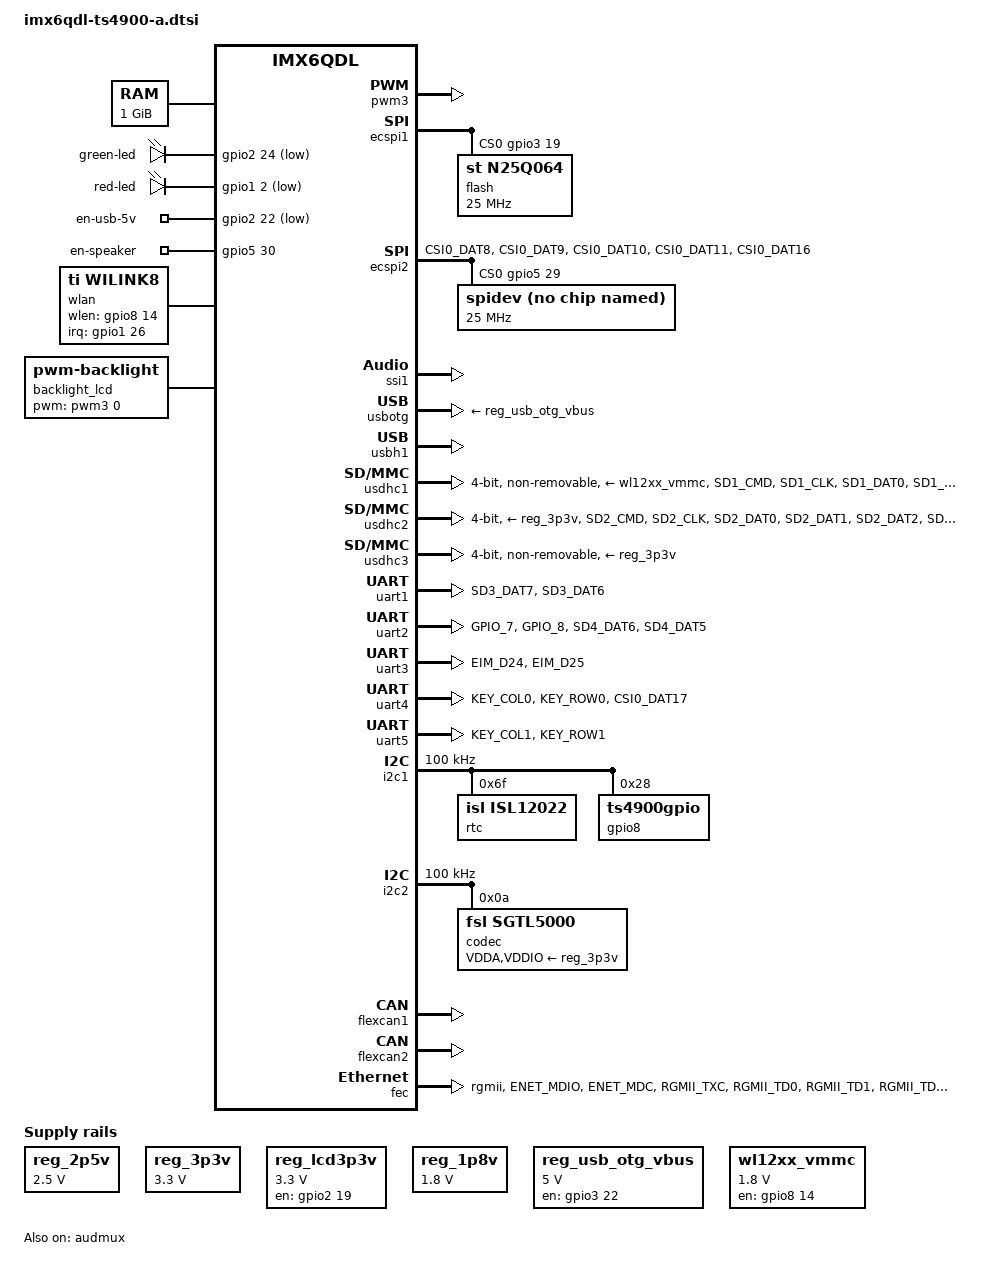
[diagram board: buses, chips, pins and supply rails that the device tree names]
/*
 * Copyright 2011 Freescale Semiconductor, Inc.
 * Copyright 2011 Linaro Ltd.
 *
 * The code contained herein is licensed under the GNU General Public
 * License. You may obtain a copy of the GNU General Public License
 * Version 2 or later at the following locations:
 *
 * http://www.opensource.org/licenses/gpl-license.html
 * http://www.gnu.org/copyleft/gpl.html
 */

#include <dt-bindings/interrupt-controller/irq.h>

/ {
	aliases {
		mxcfb0 = &mxcfb0;
	};
	
	memory {
		reg = <0x10000000 0x40000000>;
	};

	leds {
		compatible = "gpio-leds";

		green-led {
			label = "green-led";
			gpios = <&gpio2 24 1>;
			default-state = "on";
		};

		red-led {
			label = "red-led";
			gpios = <&gpio1 2 1>;
			default-state = "off";
		};

		// These are intended as userspace controlled IO.  In this kernel
		// version LEDs are the best interface I can find to allow both
		// userspace control and a default value.

		en-usb-5v {
			label = "en-usb-5v";
			gpios = <&gpio2 22 1>;
			default-state = "off";
		};

		en-speaker {
			label = "en-speaker";
			gpios = <&gpio5 30 0>;
			default-state = "on";
		};
	};


	regulators {
		compatible = "simple-bus";

		reg_2p5v: 2p5v {
			compatible = "regulator-fixed";
			regulator-name = "2P5V";
			regulator-min-microvolt = <2500000>;
			regulator-max-microvolt = <2500000>;
			regulator-always-on;
		};

		reg_3p3v: 3p3v {
			compatible = "regulator-fixed";
			regulator-name = "3P3V";
			regulator-min-microvolt = <3300000>;
			regulator-max-microvolt = <3300000>;
			regulator-always-on;
		};

		reg_lcd3p3v: lcd3p3v {
			compatible = "regulator-fixed";
			regulator-name = "LCD3P3V";
			regulator-min-microvolt = <3300000>;
			regulator-max-microvolt = <3300000>;
			gpio = <&gpio2 19 0>;
			startup-delay-us = <60000>;
			regulator-boot-on;
			enable-active-high;
		};

		reg_1p8v: 1p8v {
			compatible = "regulator-fixed";
			regulator-name = "1P8V";
			regulator-min-microvolt = <1800000>;
			regulator-max-microvolt = <1800000>;
			regulator-always-on;
		};

		reg_usb_otg_vbus: usb_otg_vbus {
			compatible = "regulator-fixed";
			regulator-name = "usb_otg_vbus";
			regulator-min-microvolt = <5000000>;
			regulator-max-microvolt = <5000000>;
			gpio = <&gpio3 22 0>;
			enable-active-high;
		};

		wl12xx_vmmc: wl12xx_vmmc {
			compatible = "regulator-fixed";
			regulator-name = "wl12xx_vmmc";
			regulator-min-microvolt = <1800000>;
			regulator-max-microvolt = <1800000>;
			gpio = <&gpio8 14 0>;
			startup-delay-us = <100000>;
			enable-active-high;
			regulator-boot-on;
		};
	};

	sound {
		compatible = "fsl,imx6q-ts4900-sgtl5000",
			     "fsl,imx-audio-sgtl5000";
		model = "imx6q-ts4900-sgtl5000";
		ssi-controller = <&ssi1>;
		audio-codec = <&codec>;
		audio-routing =
			"MIC_IN", "Mic Jack",
			"Mic Jack", "Mic Bias",
			"Headphone Jack", "HP_OUT";
		mux-int-port = <1>;
		mux-ext-port = <3>;
	};

    mxcfb0: fb@0 {
            compatible = "fsl,mxc_sdc_fb";
            disp_dev = "lcd";
            interface_pix_fmt = "RGB24";            
            mode_str ="HANTRONIX-SVGA";            
            default_bpp = <16>;
            int_clk = <0>;
            late_init = <0>;
            status = "okay";
    };
    
	lcd@0 {
		compatible = "fsl,lcd";
		ipu_id = <0>;
		disp_id = <0>;
		default_ifmt = "RGB24";
		pinctrl-names = "default";
		pinctrl-0 = <&pinctrl_ipu_4900>;		
		status = "okay";
	};

	wlan {
		compatible = "ti,wilink8";
		interrupt-parent = <&gpio1>;
		wlen-gpio = <&gpio8 14 0>;
		interrupts = <26 IRQ_TYPE_EDGE_FALLING>;
	};

	backlight_lcd {
		compatible = "pwm-backlight";
		pwms = <&pwm3 0 5000000>;
		brightness-levels = <0 128 140 160 180 200 220 240 255>;
		default-brightness-level = <8>;
	};
};

&pwm3 {
        pinctrl-names = "default";
        pinctrl-0 = <&pinctrl_pwm3_1>;
        status = "okay";
};

&ecspi1 {
	fsl,spi-num-chipselects = <1>;
	cs-gpios = <&gpio3 19 0>;
	pinctrl-names = "default";
	pinctrl-0 = <&pinctrl_ecspi1_1>;
	status = "okay";
	flash: n25q064@0 {
		compatible = "st,n25q064";
		spi-max-frequency = <25000000>;
		reg = <0>;
		#address-cells = <1>;
		#size-cells = <1>;

		uboot@0 {
			label = "U-Boot";
			reg = <0x0000000 0x0100000>;
		};
		ubootenv@0100000 {
			label = "env";
			reg = <0x0100000 0x0020000>;
		};
		user@0400000 {
			label = "user-data";
			reg = <0x0400000 0x0400000>;
		};
	};
};

&ecspi2 {
	fsl,spi-num-chipselects = <1>;
	cs-gpios = <&gpio5 29 0>;
	pinctrl-names = "default";
	pinctrl-0 = <&pinctrl_ecspi2_4900>;
	status = "okay";
	spidev: spi@0 {
		compatible = "spidev";
		reg = <0>;
		spi-max-frequency = <25000000>;
	};
};

&ssi1 {
        fsl,mode = "i2s-slave";
        status = "okay";
};

&iomuxc {
	pinctrl-names = "default";
	pinctrl-0 = <&pinctrl_misc>;

	uart1-4900 {
		pinctrl_uart1_4900: uart1-grp-2 {
			fsl,pins = <
				MX6QDL_PAD_SD3_DAT7__UART1_TX_DATA	0x1b0b1
				MX6QDL_PAD_SD3_DAT6__UART1_RX_DATA	0x1b0b1
			>;
		};
	};

	uart2-4900 {
		pinctrl_uart2_4900: uart2-grp-2 {
			fsl,pins = <
				MX6QDL_PAD_GPIO_7__UART2_TX_DATA	0x1b0b1
				MX6QDL_PAD_GPIO_8__UART2_RX_DATA	0x1b0b1
				MX6QDL_PAD_SD4_DAT6__UART2_CTS_B    0x1b0b1
				MX6QDL_PAD_SD4_DAT5__UART2_RTS_B    0x130B1
			>;
		};
	};

	uart3-4900 {
		pinctrl_uart3_4900: uart3-grp-2 {
			fsl,pins = <
				MX6QDL_PAD_EIM_D24__UART3_TX_DATA	0x1b0b1
				MX6QDL_PAD_EIM_D25__UART3_RX_DATA	0x1b0b1
			>;
		};
	};

	uart4-4900 {
		pinctrl_uart4_4900: uart4-grp-2 {
			fsl,pins = <
				MX6QDL_PAD_KEY_COL0__UART4_TX_DATA	0x1b0b1
				MX6QDL_PAD_KEY_ROW0__UART4_RX_DATA	0x1b0b1
				MX6QDL_PAD_CSI0_DAT17__UART4_CTS_B  0x1b0b1
			>;
		};
	};

	uart5-4900 {
		pinctrl_uart5_4900: uart5-grp-2 {
			fsl,pins = <
				MX6QDL_PAD_KEY_COL1__UART5_TX_DATA	0x1b0b1
				MX6QDL_PAD_KEY_ROW1__UART5_RX_DATA	0x1b0b1
			>;
		};
	};

	// TODO verify irq uses same pad settings
	usdhc1-4900 {
		pinctrl_usdhc1_4900: usdhc1grp-1 {
			fsl,pins = <
				MX6QDL_PAD_SD1_CMD__SD1_CMD	     0x17059
				MX6QDL_PAD_SD1_CLK__SD1_CLK	     0x10059
				MX6QDL_PAD_SD1_DAT0__SD1_DATA0	 0x17059
				MX6QDL_PAD_SD1_DAT1__SD1_DATA1	 0x17059
				MX6QDL_PAD_SD1_DAT2__SD1_DATA2	 0x17059
				MX6QDL_PAD_SD1_DAT3__SD1_DATA3	 0x17059
				MX6QDL_PAD_ENET_RXD1__GPIO1_IO26 0x17059 // WIFI IRQ								
			>;
		};
	};

	usdhc2-4900 {
		pinctrl_usdhc2_4900: usdhc2grp-2 {
			fsl,pins = <
				MX6QDL_PAD_SD2_CMD__SD2_CMD    0x17059
				MX6QDL_PAD_SD2_CLK__SD2_CLK    0x10059
				MX6QDL_PAD_SD2_DAT0__SD2_DATA0 0x17059
				MX6QDL_PAD_SD2_DAT1__SD2_DATA1 0x17059
				MX6QDL_PAD_SD2_DAT2__SD2_DATA2 0x17059
				MX6QDL_PAD_SD2_DAT3__SD2_DATA3 0x17059
			>;
		};
	};

	ecspi2-4900 {
		pinctrl_ecspi2_4900: ecspi2-1 {
			fsl,pins = <
				MX6QDL_PAD_CSI0_DAT8__ECSPI2_SCLK    0x100b1
				MX6QDL_PAD_CSI0_DAT9__ECSPI2_MOSI    0x100b1
				MX6QDL_PAD_CSI0_DAT10__ECSPI2_MISO   0x100b1
				MX6QDL_PAD_CSI0_DAT11__GPIO5_IO29    0x100b1 // Offboard CS0#
				MX6QDL_PAD_CSI0_DAT16__GPIO6_IO02    0x100b1 // FPGA CS1#
			>;
		};
	};

	ipu-4900 {
		pinctrl_ipu_4900: ipu2grp-1 {
			fsl,pins = <
				MX6QDL_PAD_DI0_DISP_CLK__IPU1_DI0_DISP_CLK      0x38
				MX6QDL_PAD_DI0_PIN15__IPU1_DI0_PIN15            0xe0 // DE
				MX6QDL_PAD_DI0_PIN2__IPU1_DI0_PIN02             0xe0 // Hsync
				MX6QDL_PAD_DI0_PIN3__IPU1_DI0_PIN03             0xe0 // Vsync
				MX6QDL_PAD_DISP0_DAT0__IPU1_DISP0_DATA00        0xe0
				MX6QDL_PAD_DISP0_DAT1__IPU1_DISP0_DATA01        0xe0
				MX6QDL_PAD_DISP0_DAT2__IPU1_DISP0_DATA02        0xe0
				MX6QDL_PAD_DISP0_DAT3__IPU1_DISP0_DATA03        0xe0
				MX6QDL_PAD_DISP0_DAT4__IPU1_DISP0_DATA04        0xe0
				MX6QDL_PAD_DISP0_DAT5__IPU1_DISP0_DATA05        0xe0
				MX6QDL_PAD_DISP0_DAT6__IPU1_DISP0_DATA06        0xe0
				MX6QDL_PAD_DISP0_DAT7__IPU1_DISP0_DATA07        0xe0
				MX6QDL_PAD_DISP0_DAT8__IPU1_DISP0_DATA08        0xe0
				MX6QDL_PAD_DISP0_DAT9__IPU1_DISP0_DATA09        0xe0
				MX6QDL_PAD_DISP0_DAT10__IPU1_DISP0_DATA10       0xe0
				MX6QDL_PAD_DISP0_DAT11__IPU1_DISP0_DATA11       0xe0
				MX6QDL_PAD_DISP0_DAT12__IPU1_DISP0_DATA12       0xe0
				MX6QDL_PAD_DISP0_DAT13__IPU1_DISP0_DATA13       0xe0
				MX6QDL_PAD_DISP0_DAT14__IPU1_DISP0_DATA14       0xe0
				MX6QDL_PAD_DISP0_DAT15__IPU1_DISP0_DATA15       0xe0
				MX6QDL_PAD_DISP0_DAT16__IPU1_DISP0_DATA16       0xe0
				MX6QDL_PAD_DISP0_DAT17__IPU1_DISP0_DATA17       0xe0
				MX6QDL_PAD_DISP0_DAT18__IPU1_DISP0_DATA18       0xe0
				MX6QDL_PAD_DISP0_DAT19__IPU1_DISP0_DATA19       0xe0
				MX6QDL_PAD_DISP0_DAT20__IPU1_DISP0_DATA20       0xe0
				MX6QDL_PAD_DISP0_DAT21__IPU1_DISP0_DATA21       0xe0
				MX6QDL_PAD_DISP0_DAT22__IPU1_DISP0_DATA22       0xe0
				MX6QDL_PAD_DISP0_DAT23__IPU1_DISP0_DATA23       0xe0
			>;
		};
	};
	
	enet-4900 {
		pinctrl_enet_4900: enet-4900 {
			fsl,pins = <
				MX6QDL_PAD_ENET_MDIO__ENET_MDIO       0x1b0b0
				MX6QDL_PAD_ENET_MDC__ENET_MDC         0x1b0b0
				MX6QDL_PAD_RGMII_TXC__RGMII_TXC       0x1b0b0
				MX6QDL_PAD_RGMII_TD0__RGMII_TD0       0x1b0b0
				MX6QDL_PAD_RGMII_TD1__RGMII_TD1       0x1b0b0
				MX6QDL_PAD_RGMII_TD2__RGMII_TD2       0x1b0b0
				MX6QDL_PAD_RGMII_TD3__RGMII_TD3       0x1b0b0
				MX6QDL_PAD_RGMII_TX_CTL__RGMII_TX_CTL 0x1b0b0
				MX6QDL_PAD_ENET_REF_CLK__ENET_TX_CLK  0x1b0b0
				MX6QDL_PAD_RGMII_RXC__RGMII_RXC       0x1b0b0
				MX6QDL_PAD_RGMII_RD0__RGMII_RD0       0x1b0b0
				MX6QDL_PAD_RGMII_RD1__RGMII_RD1       0x1b0b0
				MX6QDL_PAD_RGMII_RD2__RGMII_RD2       0x1b0b0
				MX6QDL_PAD_RGMII_RD3__RGMII_RD3       0x1b0b0
				MX6QDL_PAD_RGMII_RX_CTL__RGMII_RX_CTL 0x1b0b0
				MX6QDL_PAD_ENET_REF_CLK__ENET_TX_CLK  0x4001b0a8
				MX6QDL_PAD_ENET_TX_EN__GPIO1_IO28     0x80000000
				MX6QDL_PAD_DI0_PIN4__GPIO4_IO20       0x80000000 // ETH_PHY_RESET
			>;
		};
	};
	
	misc {
		pinctrl_misc: misc {
			fsl,pins = <
				MX6QDL_PAD_EIM_A19__GPIO2_IO19         0x80000000 // EN_LCD_3.3V
				MX6QDL_PAD_EIM_D19__GPIO3_IO19         0x80000000 // SPI_1_CS#
				MX6QDL_PAD_GPIO_0__CCM_CLKO1           0x130b0    // Audio CLK
				MX6QDL_PAD_CSI0_VSYNC__GPIO5_IO21      0x80000000 // FPGA_RESET#
				MX6QDL_PAD_CSI0_DATA_EN__GPIO5_IO20    0x80000000 // FPGA_DONE
				MX6QDL_PAD_SD3_RST__GPIO7_IO08         0x80000000 // EMMC_RESET#
				MX6QDL_PAD_GPIO_2__GPIO1_IO02          0x80000000 // RED_LED#
				MX6QDL_PAD_GPIO_3__XTALOSC_REF_CLK_24M 0x10       // FPGA 24MHZ
				MX6QDL_PAD_GPIO_4__GPIO1_IO04          0x80000000 // FPGA_IRQ
				MX6QDL_PAD_GPIO_5__GPIO1_IO05          0x80000000 // DIO_1
				MX6QDL_PAD_GPIO_6__GPIO1_IO06          0x80000000 // DIO_2
				MX6QDL_PAD_GPIO_9__GPIO1_IO09          0x80000000 // DIO_3
				MX6QDL_PAD_GPIO_16__GPIO7_IO11         0x80000000 // DIO_4
				MX6QDL_PAD_GPIO_17__GPIO7_IO12         0x80000000 // DIO_5
				MX6QDL_PAD_GPIO_19__GPIO4_IO05         0x80000000 // DIO_7
				MX6QDL_PAD_CSI0_MCLK__GPIO5_IO19       0x80000000 // DIO_8
				MX6QDL_PAD_CSI0_PIXCLK__GPIO5_IO18     0x80000000 // DIO_9
				MX6QDL_PAD_CSI0_DAT12__GPIO5_IO30      0x80000000 // DIO_0
				MX6QDL_PAD_CSI0_DAT13__GPIO5_IO31      0x80000000 // DIO_6
				MX6QDL_PAD_EIM_OE__GPIO2_IO25          0x80000000 // DIO_15
				MX6QDL_PAD_EIM_CS1__GPIO2_IO24         0x80000000 // GREEN_LED#
				MX6QDL_PAD_EIM_A16__GPIO2_IO22         0x80000000 // EN_USB_5V#
				MX6QDL_PAD_EIM_A17__GPIO2_IO21         0x80000000 // OFF_BD_RESET#
				MX6QDL_PAD_EIM_A18__GPIO2_IO20         0x80000000 // DIO_14
				MX6QDL_PAD_EIM_A20__GPIO2_IO18         0x80000000 // DIO_16
				MX6QDL_PAD_EIM_A21__GPIO2_IO17         0x80000000 // DIO_12
				MX6QDL_PAD_EIM_A22__GPIO2_IO16         0x80000000 // DIO_18
				MX6QDL_PAD_EIM_A23__GPIO6_IO06         0x80000000 // DIO_19
				MX6QDL_PAD_EIM_A24__GPIO5_IO04         0x80000000 // DIO_20
				MX6QDL_PAD_EIM_BCLK__GPIO6_IO31        0x80000000 // DIO_13
				MX6QDL_PAD_EIM_EB0__GPIO2_IO28         0x80000000 // EN_SD_POWER#
				MX6QDL_PAD_EIM_D31__GPIO3_IO31         0x80000000 // "DIO_10" assuming mod

				MX6QDL_PAD_EIM_LBA__EIM_LBA_B          0x80000000 // BUS_ALE#
				MX6QDL_PAD_EIM_RW__EIM_RW              0x80000000 // BUS_DIR
				MX6QDL_PAD_EIM_CS0__EIM_CS0_B         0x80000000 // BUS_CS#
				MX6QDL_PAD_EIM_WAIT__EIM_WAIT_B        0x80000000 // EIM_WAIT#
				MX6QDL_PAD_EIM_EB1__EIM_EB1_B         0x80000000 // "BUS_BHE#" assuming mod
				MX6QDL_PAD_EIM_DA0__EIM_AD00         0x80000000 // MUX_AD_00
				MX6QDL_PAD_EIM_DA1__EIM_AD01         0x80000000 // MUX_AD_01
				MX6QDL_PAD_EIM_DA2__EIM_AD02         0x80000000 // MUX_AD_02
				MX6QDL_PAD_EIM_DA3__EIM_AD03         0x80000000 // MUX_AD_03
				MX6QDL_PAD_EIM_DA4__EIM_AD04         0x80000000 // MUX_AD_04
				MX6QDL_PAD_EIM_DA5__EIM_AD05         0x80000000 // MUX_AD_05
				MX6QDL_PAD_EIM_DA6__EIM_AD06         0x80000000 // MUX_AD_06
				MX6QDL_PAD_EIM_DA7__EIM_AD07         0x80000000 // MUX_AD_07
				MX6QDL_PAD_EIM_DA8__EIM_AD08         0x80000000 // MUX_AD_08
				MX6QDL_PAD_EIM_DA9__EIM_AD09         0x80000000 // MUX_AD_09
				MX6QDL_PAD_EIM_DA10__EIM_AD10        0x80000000 // MUX_AD_10
				MX6QDL_PAD_EIM_DA11__EIM_AD11        0x80000000 // MUX_AD_11
				MX6QDL_PAD_EIM_DA12__EIM_AD12        0x80000000 // MUX_AD_12
				MX6QDL_PAD_EIM_DA13__EIM_AD13        0x80000000 // MUX_AD_13
				MX6QDL_PAD_EIM_DA14__EIM_AD14        0x80000000 // MUX_AD_14
				MX6QDL_PAD_EIM_DA15__EIM_AD15        0x80000000 // MUX_AD_15
			>;
		};
	};
};

&usbotg {
	vbus-supply = <&reg_usb_otg_vbus>;
	pinctrl-names = "default";
	pinctrl-0 = <&pinctrl_usbotg_1>;
	disable-over-current;
	status = "okay";
};

&usbh1 {
	status = "okay";
};

&weim {
    status = "disabled";
};

// WIFI
&usdhc1 { 
	pinctrl-names = "default";
	pinctrl-0 = <&pinctrl_usdhc1_4900>;
	vmmc-supply = <&wl12xx_vmmc>;
	bus-width = <4>;
	status = "okay";
	non-removable;
};

// SD
&usdhc2 {
	pinctrl-names = "default";
	pinctrl-0 = <&pinctrl_usdhc2_4900>;
	vmmc-supply = <&reg_3p3v>;
	bus-width = <4>;
	status = "okay";
	//fsl,cd-controller;
	fsl,wp-controller;	
};

// eMMC
&usdhc3 {
	pinctrl-names = "default";
	pinctrl-0 = <&pinctrl_usdhc3_2>;
	vmmc-supply = <&reg_3p3v>;
	bus-width = <4>;
	status = "okay";
	fsl,wp-controller;
	non-removable;
}; 

&audmux {
	status = "okay";
	pinctrl-names = "default";
	pinctrl-0 = <&pinctrl_audmux_2>;
};

&uart1 {
	status = "okay";
	pinctrl-names = "default";
	pinctrl-0 = <&pinctrl_uart1_4900>;
};

&uart2 {
	status = "okay";
	pinctrl-names = "default";
	pinctrl-0 = <&pinctrl_uart2_4900>;
	fsl,uart-has-rtscts;
};

&uart3 {
	status = "okay";
	pinctrl-names = "default";
	pinctrl-0 = <&pinctrl_uart3_4900>;
};

&uart4 {
	status = "okay";
	pinctrl-names = "default";
	pinctrl-0 = <&pinctrl_uart4_4900>;
};

&uart5 {
	status = "okay";
	pinctrl-names = "default";
	pinctrl-0 = <&pinctrl_uart5_4900>;
};

&i2c1 {
	status = "okay";
	clock-frequency = <100000>;
	pinctrl-names = "default";
	pinctrl-0 = <&pinctrl_i2c1_1>;

	rtc: isl12022@6f {
		compatible = "isl,isl12022";
		reg = <0x6f>;
	};

	gpio8: ts4900gpio@28 {
		compatible = "ts4900gpio";
		reg = <0x28>;
		#gpio-cells = <2>;
		gpio-controller;
	};
};

&i2c2 {
	status = "okay";
	clock-frequency = <100000>;
	pinctrl-names = "default";
	pinctrl-0 = <&pinctrl_i2c2_2>;

	codec: sgtl5000@0a {
		compatible = "fsl,sgtl5000";
		reg = <0x0a>;
		clocks = <&clks 201>;
		VDDA-supply = <&reg_3p3v>;
		VDDIO-supply = <&reg_3p3v>;
	};
};

&flexcan1 {
        pinctrl-names = "default";
        pinctrl-0 = <&pinctrl_flexcan1_1>;
        status = "okay";
};

&flexcan2 {
        pinctrl-names = "default";
        pinctrl-0 = <&pinctrl_flexcan2_1>;
        status = "okay";
};

&fec {
		pinctrl-names = "default";
		pinctrl-0 = <&pinctrl_enet_4900>;
		phy-mode = "rgmii";
		phy-autoneg = "enable";
		status = "okay";	
};
